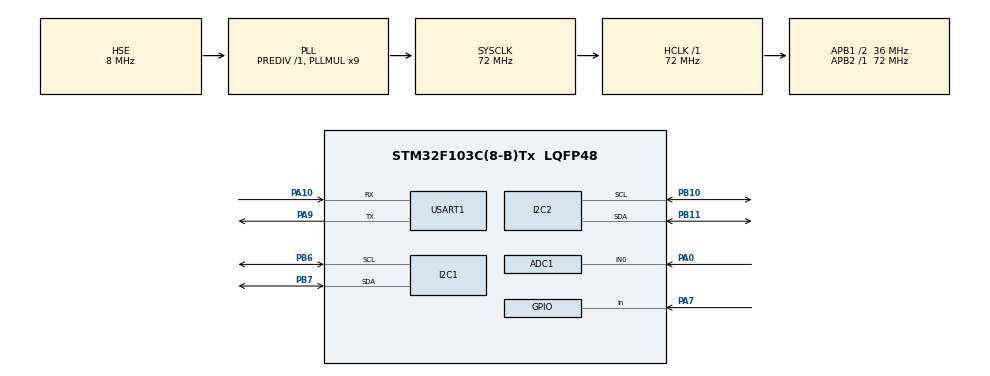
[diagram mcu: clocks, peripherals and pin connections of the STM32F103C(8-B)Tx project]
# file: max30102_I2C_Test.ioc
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ADC1.Channel-0\#ChannelRegularConversion=ADC_CHANNEL_0
ADC1.NbrOfConversionFlag=1
ADC1.Rank-0\#ChannelRegularConversion=1
ADC1.SamplingTime-0\#ChannelRegularConversion=ADC_SAMPLETIME_1CYCLE_5
ADC1.master=1
I2C1.I2C_Mode=I2C_Fast
I2C2.I2C_Mode=I2C_Fast
Mcu.Family=STM32F1
Mcu.Name=STM32F103C(8-B)Tx
Mcu.Package=LQFP48
NVIC.PriorityGroup=NVIC_PRIORITYGROUP_4
PA0-WKUP.Signal=ADCx_IN0
PA10.Mode=Asynchronous
PA10.Signal=USART1_RX
PA13.Mode=Serial_Wire
PA13.Signal=SYS_JTMS-SWDIO
PA14.Mode=Serial_Wire
PA14.Signal=SYS_JTCK-SWCLK
PA7.GPIO_PuPd=GPIO_PULLUP
PA7.Signal=GPIO_Input
PA9.Mode=Asynchronous
PA9.Signal=USART1_TX
PB10.Mode=I2C
PB10.Signal=I2C2_SCL
PB11.Mode=I2C
PB11.Signal=I2C2_SDA
PB6.Mode=I2C
PB6.Signal=I2C1_SCL
PB7.Mode=I2C
PB7.Signal=I2C1_SDA
PD0-OSC_IN.Mode=HSE-External-Oscillator
PD0-OSC_IN.Signal=RCC_OSC_IN
PD1-OSC_OUT.Mode=HSE-External-Oscillator
PD1-OSC_OUT.Signal=RCC_OSC_OUT
ProjectManager.HeapSize=0x200
ProjectManager.StackSize=0x400
ProjectManager.TargetToolchain=MDK-ARM V5.32
RCC.ADCPresc=RCC_ADCPCLK2_DIV6
RCC.AHBFreq_Value=72000000
RCC.APB1CLKDivider=RCC_HCLK_DIV2
RCC.APB1Freq_Value=36000000
RCC.APB1TimFreq_Value=72000000
RCC.APB2Freq_Value=72000000
RCC.APB2TimFreq_Value=72000000
RCC.HCLKFreq_Value=72000000
RCC.PLLMUL=RCC_PLL_MUL9
RCC.PLLSourceVirtual=RCC_PLLSOURCE_HSE
RCC.SYSCLKFreq_VALUE=72000000
RCC.SYSCLKSource=RCC_SYSCLKSOURCE_PLLCLK
RCC.USBFreq_Value=72000000
SH.ADCx_IN0.0=ADC1_IN0,IN0
USART1.VirtualMode=VM_ASYNC
board=custom

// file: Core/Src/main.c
/* USER CODE BEGIN Header */
/**
  ******************************************************************************
  * @file           : main.c
  * @brief          : Main program body
  ******************************************************************************
  * @attention
  *
  * Copyright (c) 2024 STMicroelectronics.
  * All rights reserved.
  *
  * This software is licensed under terms that can be found in the LICENSE file
  * in the root directory of this software component.
  * If no LICENSE file comes with this software, it is provided AS-IS.
  *
  ******************************************************************************
  */
/* USER CODE END Header */
#include "main.h"
#include "adc.h"
#include "i2c.h"
#include "usart.h"
#include "gpio.h"

/* USER CODE BEGIN Includes */
#include <stdio.h>
#include "OLED.h"
#include "Max30102.h"
/* USER CODE END Includes */

/* USER CODE BEGIN PD */
#define DEVICE_ADDRESS 0x57
/* USER CODE END PD */

void SystemClock_Config(void);

int main(void)
{
  /* USER CODE BEGIN 1 */
	int32_t HR_Value,BO_Value;
  int8_t HR_Valid,BO_Valid;

	uint16_t ADC1_number=0;
	double ADC2_number=0;
	int i=0;
	uint16_t devAddress = DEVICE_ADDRESS << 1;

  uint8_t regAddr = 0x00; //
  uint8_t dataBuffer[6];
  /* USER CODE END 1 */

  /* MCU Configuration--------------------------------------------------------*/

  /* Reset of all peripherals, Initializes the Flash interface and the Systick. */
  HAL_Init();

  /* Configure the system clock */
  SystemClock_Config();

  /* Initialize all configured peripherals */
  MX_GPIO_Init();
  MX_I2C1_Init();
  MX_I2C2_Init();
  MX_ADC1_Init();
  MX_USART1_UART_Init();
  /* USER CODE BEGIN 2 */

  OLED_Init();
  OLED_ShowString(4,1,"jikli");
  Max30102_Init();
  Max30102_Safety();

  /* USER CODE END 2 */

  /* Infinite loop */
  /* USER CODE BEGIN WHILE */
  while (1)
  {
		Max30102_Calculate_HR_BO_Value(&HR_Value,&HR_Valid,&BO_Value,&BO_Valid);
//		if(HR_Valid==1 && BO_Valid==1)
//		{
//			OLED_ShowString(1,1,"HR:");
//			OLED_ShowString(2,1,"BO:");
//			OLED_ShowNum(1,5,HR_Value,3);
//			OLED_ShowNum(2,5,BO_Value,3);
//		}

//		ADC2_number=0;
//		for (i=1;i<=16;i++)
//		{
//			HAL_ADC_Start(&hadc1);
//			HAL_ADC_PollForConversion(&hadc1,HAL_MAX_DELAY);
//			ADC1_number=(uint16_t)HAL_ADC_GetValue(&hadc1);
//			ADC2_number=ADC2_number+(ADC1_number*3.3/4096.0);
//		}
//		ADC2_number=ADC2_number/16.0;
//		printf("%i,%i,%i,%i\n",HR_Value,HR_Valid,BO_Value,BO_Valid);

    /* USER CODE END WHILE */

  }
}

void SystemClock_Config(void)
{
  RCC_OscInitTypeDef RCC_OscInitStruct = {0};
  RCC_ClkInitTypeDef RCC_ClkInitStruct = {0};
  RCC_PeriphCLKInitTypeDef PeriphClkInit = {0};

  /** Initializes the RCC Oscillators according to the specified parameters
  * in the RCC_OscInitTypeDef structure.
  */
  RCC_OscInitStruct.OscillatorType = RCC_OSCILLATORTYPE_HSE;
  RCC_OscInitStruct.HSEState = RCC_HSE_ON;
  RCC_OscInitStruct.HSEPredivValue = RCC_HSE_PREDIV_DIV1;
  RCC_OscInitStruct.HSIState = RCC_HSI_ON;
  RCC_OscInitStruct.PLL.PLLState = RCC_PLL_ON;
  RCC_OscInitStruct.PLL.PLLSource = RCC_PLLSOURCE_HSE;
  RCC_OscInitStruct.PLL.PLLMUL = RCC_PLL_MUL9;
  if (HAL_RCC_OscConfig(&RCC_OscInitStruct) != HAL_OK)
  {
    Error_Handler();
  }

  /** Initializes the CPU, AHB and APB buses clocks
  */
  RCC_ClkInitStruct.ClockType = RCC_CLOCKTYPE_HCLK|RCC_CLOCKTYPE_SYSCLK
                              |RCC_CLOCKTYPE_PCLK1|RCC_CLOCKTYPE_PCLK2;
  RCC_ClkInitStruct.SYSCLKSource = RCC_SYSCLKSOURCE_PLLCLK;
  RCC_ClkInitStruct.AHBCLKDivider = RCC_SYSCLK_DIV1;
  RCC_ClkInitStruct.APB1CLKDivider = RCC_HCLK_DIV2;
  RCC_ClkInitStruct.APB2CLKDivider = RCC_HCLK_DIV1;

  if (HAL_RCC_ClockConfig(&RCC_ClkInitStruct, FLASH_LATENCY_2) != HAL_OK)
  {
    Error_Handler();
  }
  PeriphClkInit.PeriphClockSelection = RCC_PERIPHCLK_ADC;
  PeriphClkInit.AdcClockSelection = RCC_ADCPCLK2_DIV6;
  if (HAL_RCCEx_PeriphCLKConfig(&PeriphClkInit) != HAL_OK)
  {
    Error_Handler();
  }
}

void Error_Handler(void)
{
  __disable_irq();
  while (1)
  {
  }
}
